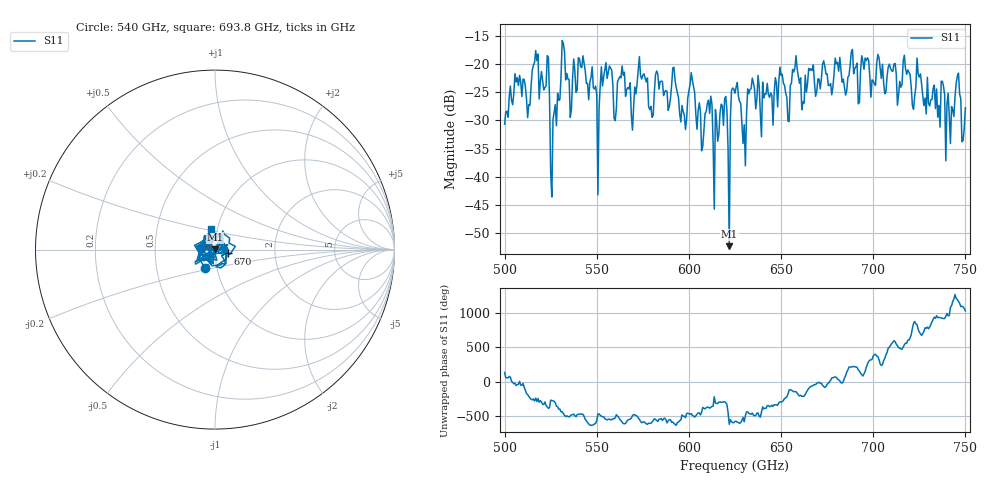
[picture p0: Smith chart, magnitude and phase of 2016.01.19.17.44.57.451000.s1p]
!Created with skrf (http://scikit-rf.org).
# GHz S RI R 50.0
!freq ReS11 ImS11
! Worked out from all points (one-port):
!   401 points, 500 GHz to 750 GHz, reference 50 ohm
!   lowest |S11| = -52.3 dB at 621.9 GHz (marker M1), VSWR 1.00, Z = 50 + j0.24 ohm
!   |S11| at or under -10 dB: start of sweep to end of sweep
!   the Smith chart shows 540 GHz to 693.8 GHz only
!   S11 on the Smith chart (normalised r, x): 540 GHz: 0.88, -0.18; 670 GHz: 1.15, -0.05; 693.8 GHz: 0.93, +0.22
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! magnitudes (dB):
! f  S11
! 500 GHz  -30.7
! 506.9 GHz  -22.4
! 513.1 GHz  -27.2
! 516.9 GHz  -17.6
! 523.1 GHz  -18.5
! 526.2 GHz  -29.9
! 531.2 GHz  -15.8
! 540 GHz  -18.8
! 550 GHz  -25.5
! 553.8 GHz  -22.3
! 560 GHz  -30.0
! 562.5 GHz  -22.2
! 593.8 GHz  -25.1
! 601.9 GHz  -22.9
! 607.5 GHz  -34.6
! 611.2 GHz  -28.8
! 614.4 GHz  -28.1
! 618.8 GHz  -30.9
! 621.9 GHz  -52.3
! 625 GHz  -25.2
! 630 GHz  -30.8
! 633.1 GHz  -24.5
! 656.2 GHz  -21.0
! 670 GHz  -22.6
! 687.5 GHz  -20.0
! 693.8 GHz  -18.5
! 718.8 GHz  -21.0
! 750 GHz  -27.8
